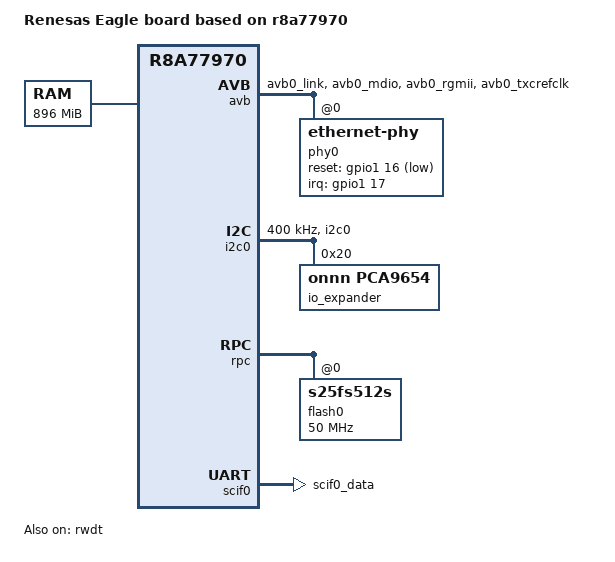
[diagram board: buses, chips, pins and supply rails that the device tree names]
// SPDX-License-Identifier: GPL-2.0
/*
 * Device Tree Source for the Eagle board
 *
 * Copyright (C) 2016-2017 Renesas Electronics Corp.
 * Copyright (C) 2017 Cogent Embedded, Inc.
 */

/dts-v1/;
#include "r8a77970.dtsi"
#include <dt-bindings/gpio/gpio.h>

/ {
	model = "Renesas Eagle board based on r8a77970";
	compatible = "renesas,eagle", "renesas,r8a77970";

	aliases {
		serial0 = &scif0;
		ethernet0 = &avb;
		spi0 = &rpc;
	};

	chosen {
		bootargs = "ignore_loglevel rw root=/dev/nfs ip=dhcp";
		stdout-path = "serial0:115200n8";
	};

	memory@48000000 {
		device_type = "memory";
		/* first 128MB is reserved for secure area. */
		reg = <0x0 0x48000000 0x0 0x38000000>;
	};
};

&avb {
	pinctrl-0 = <&avb0_pins>;
	pinctrl-names = "default";
	renesas,no-ether-link;
	phy-handle = <&phy0>;
	phy-mode = "rgmii-id";
	status = "okay";

	phy0: ethernet-phy@0 {
		rxc-skew-ps = <1500>;
		reg = <0>;
		interrupt-parent = <&gpio1>;
		interrupts = <17 IRQ_TYPE_LEVEL_LOW>;
		reset-gpios = <&gpio1 16 GPIO_ACTIVE_LOW>;
	};
};

&extal_clk {
	clock-frequency = <16666666>;
};

&extalr_clk {
	clock-frequency = <32768>;
};

&i2c0 {
	pinctrl-0 = <&i2c0_pins>;
	pinctrl-names = "default";

	status = "okay";
	clock-frequency = <400000>;

	io_expander: gpio@20 {
		compatible = "onnn,pca9654";
		reg = <0x20>;
		gpio-controller;
		#gpio-cells = <2>;
	};
};

&pfc {
	avb0_pins: avb {
		mux {
			groups = "avb0_link", "avb0_mdio", "avb0_rgmii", "avb0_txcrefclk";
			function = "avb0";
		};
	};

	i2c0_pins: i2c0 {
		groups = "i2c0";
		function = "i2c0";
	};

	scif0_pins: scif0 {
		groups = "scif0_data";
		function = "scif0";
	};
};

&rpc {
	num-cs = <1>;
	status = "okay";
	spi-max-frequency = <50000000>;
	#address-cells = <1>;
	#size-cells = <0>;

	flash0: spi-flash@0 {
		#address-cells = <1>;
		#size-cells = <1>;
		compatible = "s25fs512s", "spi-flash", "jedec,spi-nor";
		spi-max-frequency = <50000000>;
		spi-tx-bus-width = <1>;
		spi-rx-bus-width = <1>;
		reg = <0>;
		status = "okay";
	};
};

&rwdt {
	timeout-sec = <60>;
	status = "okay";
};

&scif0 {
	pinctrl-0 = <&scif0_pins>;
	pinctrl-names = "default";

	status = "okay";
};
